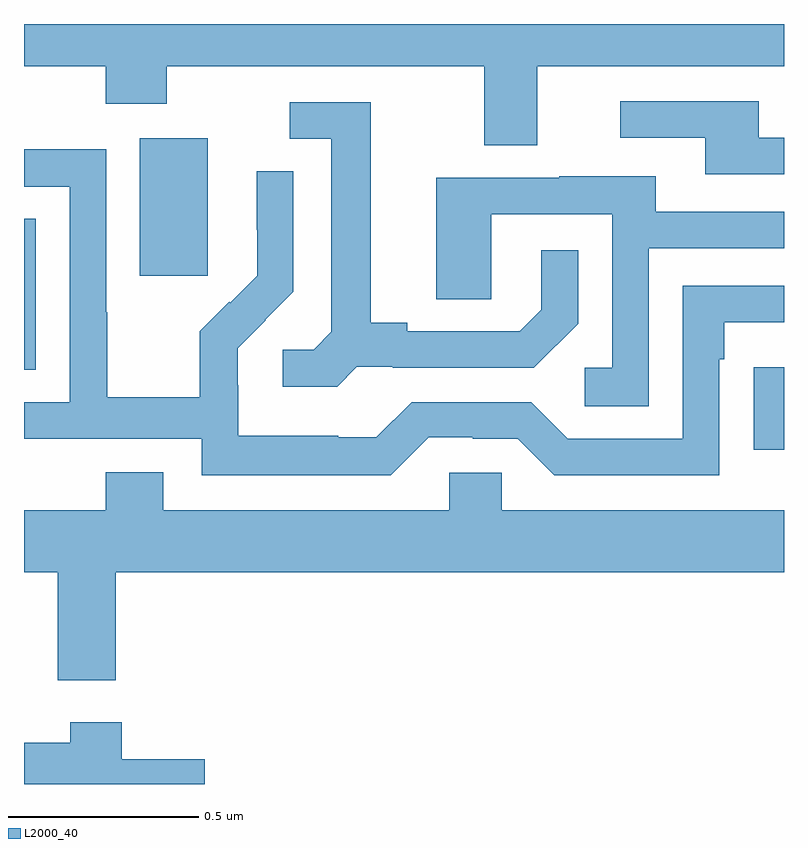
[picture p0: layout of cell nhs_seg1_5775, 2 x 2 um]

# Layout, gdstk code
import gdstk
lib = gdstk.Library(unit=1e-6, precision=1e-09)
def R(c, l, rs):  # rectangles x0, y0, x1, y1
    for r in rs: c.add(gdstk.rectangle(r[:2], r[2:], *l))
def P(c, l, *ps):  # polygons
    for p in ps: c.add(gdstk.Polygon(p, *l))
L2000_40 = (2000, 40)

nhs_seg1_5775 = lib.new_cell('nhs_seg1_5775')
R(nhs_seg1_5775, L2000_40, [(184.921,528.078,185,528.296), (183,528.289,183.031,528.686), (183.305,528.537,183.484,528.898)])
P(nhs_seg1_5775, L2000_40, [(184.351,529.088),(185,529.088),(185,529.199),(183,529.199),(183,529.088),(183.215,529.088),(183.215,528.989),(183.375,528.989),(183.375,529.088),(184.211,529.088),(184.211,528.88),(184.351,528.88)],
  [(185,528.9),(184.933,528.9),(184.933,528.996),(184.569,528.996),(184.569,528.9),(184.793,528.9),(184.793,528.804),(185,528.804)],
  [(183.876,528.297),(183.97,528.297),(183.97,528.294),(184.342,528.294),(184.458,528.41),(184.458,528.604),(184.361,528.604),(184.361,528.447),(184.304,528.39),(184.009,528.39),(184.009,528.413),(183.913,528.413),(183.913,528.993),(183.699,528.993),(183.699,528.897),(183.809,528.897),(183.809,528.389),(183.762,528.342),(183.681,528.342),(183.681,528.245),(183.824,528.245)],
  [(184.065,528.111),(184.181,528.111),(184.181,528.108),(184.299,528.108),(184.395,528.012),(184.83,528.012),(184.83,528.317),(184.843,528.317),(184.843,528.414),(185,528.414),(185,528.51),(184.734,528.51),(184.734,528.108),(184.431,528.108),(184.335,528.204),(184.02,528.204),(183.927,528.111),(183.827,528.111),(183.827,528.115),(183.564,528.115),(183.564,528.249),(183.562,528.249),(183.562,528.346),(183.636,528.42),(183.635,528.421),(183.708,528.494),(183.708,528.812),(183.612,528.812),(183.612,528.658),(183.614,528.658),(183.614,528.536),(183.543,528.465),(183.54,528.468),(183.463,528.391),(183.463,528.217),(183.219,528.217),(183.219,528.44),(183.216,528.44),(183.216,528.87),(183,528.87),(183,528.771),(183.12,528.771),(183.12,528.204),(183,528.204),(183,528.108),(183.468,528.108),(183.468,528.011),(183.965,528.011)],
  [(184.644,528.609),(185,528.609),(185,528.705),(184.663,528.705),(184.663,528.799),(184.409,528.799),(184.409,528.795),(184.085,528.795),(184.085,528.475),(184.23,528.475),(184.23,528.699),(184.548,528.699),(184.548,528.294),(184.476,528.294),(184.476,528.193),(184.644,528.193)],
  [(183.242,527.756),(185,527.756),(185,527.92),(184.257,527.92),(184.257,528.018),(184.119,528.018),(184.119,527.92),(183.367,527.92),(183.367,528.019),(183.215,528.019),(183.215,527.92),(183,527.92),(183,527.756),(183.089,527.756),(183.089,527.472),(183.242,527.472)],
  [(183.475,527.264),(183.257,527.264),(183.257,527.362),(183.122,527.362),(183.122,527.308),(183,527.308),(183,527.199),(183.475,527.199)])

lib.write_gds('nhs_seg1_5775.gds')
